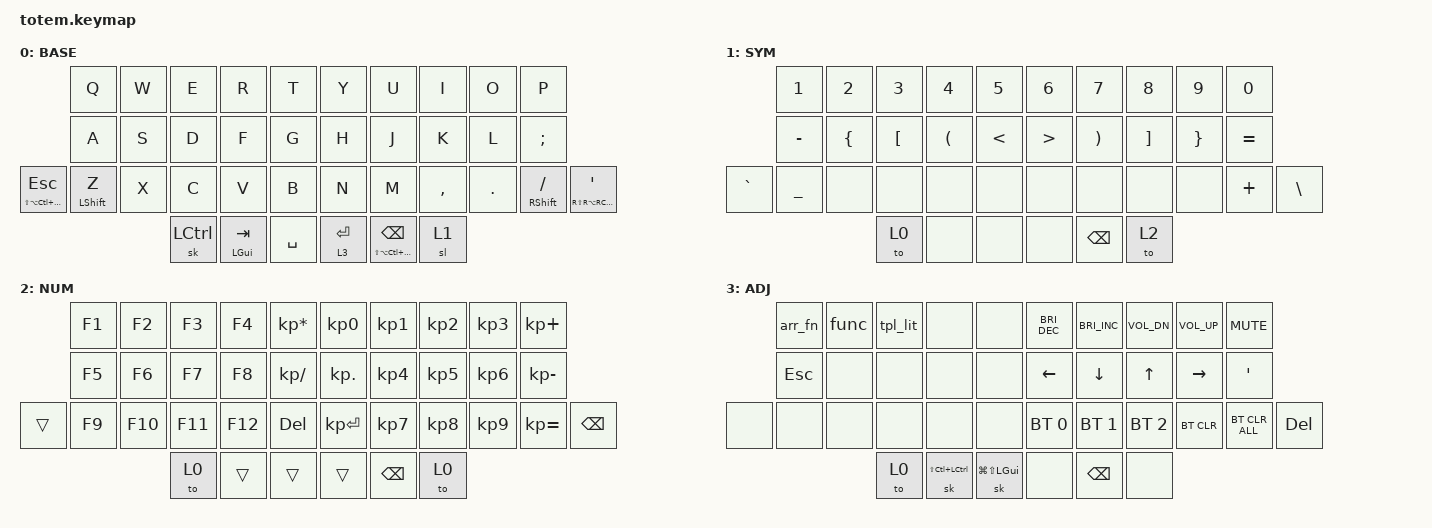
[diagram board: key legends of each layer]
//
//                                                        ▀▀▀▀▀     ▀▀▀▀▀          ▀▀█▀▀
//                                                        ▄▀▀▀▄  ▄  ▄▀▀▀▄  ▄  ▄▀▀▀▄  █  ▄▀▀▀▄
//                                                        █   █  █  █   █  █  █   █  █  █   █
//                                                         ▀▀▀   █   ▀▀▀   █   ▀▀▀   ▀   ▀▀▀
//                                                               █      ▄▄▄█▄▄▄    █   █  
//                                                               ▀      █  █  █     █▄█
//                                                             ▀▀▀▀▀    █  █  █      ▀
//                                                                      ▀  ▀  ▀
//
// ▄▄▄▄▄▄▄▄▄▄▄▄▄▄▄▄▄▄▄▄▄▄▄▄▄▄▄▄▄▄▄▄▄▄▄▄▄▄▄▄▄▄▄▄▄▄▄▄▄▄▄▄▄▄▄▄▄▄▄▄▄▄▄▄▄▄▄▄▄▄▄▄▄▄▄▄▄▄▄▄▄▄▄▄▄▄▄▄▄▄▄▄▄▄▄▄▄▄▄▄▄▄▄▄▄▄▄▄▄▄▄▄▄▄▄▄▄▄▄▄▄▄▄▄▄▄▄▄▄▄▄▄▄▄▄▄▄▄▄▄▄▄▄▄▄▄▄▄▄

#include <behaviors.dtsi>
#include <dt-bindings/zmk/bt.h>
#include <dt-bindings/zmk/keys.h>

#define BASE 0
#define NAV  1
#define SYM  2
#define ADJ  3
#define TVP1 4
#define TVP2 5

&mt {
    quick-tap-ms = <100>;
    global-quick-tap;
    flavor = "tap-preferred";
    tapping-term-ms = <170>;
};

/ {
    combos {
        compatible = "zmk,combos";

        DF {
            bindings = <&sk LEFT_GUI>;
            key-positions = <13 12>;
        };

        JK {
            bindings = <&sk RIGHT_GUI>;
            key-positions = <16 17>;
        };

        SD {
            bindings = <&sk LEFT_ALT>;
            key-positions = <12 11>;
        };

        KL {
            bindings = <&sk RIGHT_ALT>;
            key-positions = <17 18>;
        };

        SA {
            bindings = <&sk LEFT_CONTROL>;
            key-positions = <10 11>;
        };

        S_SEMI {
            bindings = <&sk RIGHT_CONTROL>;
            key-positions = <18 19>;
        };

        left_hyper {
            bindings = <&sk LA(LC(LG(LS(LEFT_GUI))))>;
            key-positions = <11 12 13>;
        };

        right_hyper {
            bindings = <&sk RS(RA(RC(RG(RIGHT_GUI))))>;
            key-positions = <16 17 18>;
        };

        cv {
            bindings = <&sk LEFT_SHIFT>;
            key-positions = <23 24>;
        };

        m, {
            bindings = <&sk RIGHT_SHIFT>;
            key-positions = <27 28>;
        };

        rt {
            bindings = <&kp LBRC>;
            key-positions = <3 4>;
        };

        yu {
            bindings = <&kp RBRC>;
            key-positions = <5 6>;
        };

        fg {
            bindings = <&kp LPAR>;
            key-positions = <13 14>;
        };

        hj {
            bindings = <&kp RPAR>;
            key-positions = <15 16>;
        };

        vb {
            bindings = <&kp LBKT>;
            key-positions = <24 25>;
        };

        nm {
            bindings = <&kp RBKT>;
            key-positions = <26 27>;
        };

        qw {
            bindings = <&kp GRAVE>;
            key-positions = <0 1>;
        };

        op {
            bindings = <&kp BSLH>;
            key-positions = <8 9>;
        };

        caps {
            bindings = <&kp CAPS>;
            key-positions = <10 19>;
        };
    };

    behaviors {
        hold_tap_k_k: hold_tap_k_k {
            compatible = "zmk,behavior-hold-tap";
            label = "HOLD_TAP_K_K";
            bindings = <&kp>, <&kp>;

            #binding-cells = <2>;
            tapping-term-ms = <150>;
        };
    };

    macros {
        arr_fn: arr_fn {
            compatible = "zmk,behavior-macro";
            #binding-cells = <0>;
            bindings = <&none &kp LPAR &kp RPAR &kp SPACE &kp EQUAL &kp GT &kp SPACE &kp LBRC &kp RBRC>;
            label = "ARR_FN";
        };

        func: func {
            compatible = "zmk,behavior-macro";
            #binding-cells = <0>;
            bindings = <&none &kp F &kp U &kp N &kp C &kp T &kp I &kp O &kp N &kp SPACE &kp LPAR &kp RPAR &kp SPACE &kp LBRC &kp RBRC>;
            label = "FUNC";
        };

        tpl_lit: tpl_lit {
            compatible = "zmk,behavior-macro";
            #binding-cells = <0>;
            bindings = <&none &kp DLLR &kp LBRC &kp RBRC>;
            label = "TPL_LIT";
        };
    };

    keymap {
        compatible = "zmk,keymap";

        // ▄▄▄▄▄▄▄▄▄▄▄▄▄▄▄▄▄▄▄▄▄▄▄▄▄▄▄▄▄▄▄▄▄▄▄▄▄▄▄▄▄▄▄▄▄▄▄▄▄▄▄▄▄▄▄▄▄▄▄▄▄▄▄▄▄▄▄▄▄▄▄▄▄▄▄▄▄▄▄▄▄▄▄▄▄▄▄▄▄▄▄▄▄▄▄▄▄▄▄▄▄▄▄▄▄▄▄▄▄▄▄▄▄▄▄▄▄▄▄▄▄▄▄▄▄▄▄▄▄▄▄▄▄▄▄▄▄▄▄▄▄▄▄▄▄▄▄▄▄

        base_layer {
            // ┏━━━━━━━━━━━━━━━━━━━━━━━━━━━━━━━━━━━━━━━┓

            label = "BASE";

            // ┗━━━━━━━━━━━━━━━━━━━━━━━━━━━━━━━━━━━━━━━┛
            //             ┏━━━━━━━━━━━┳━━━━━━━━━━━┳━━━━━━━━━━━┳━━━━━━━━━━━┳━━━━━━━━━━━┓   ┏━━━━━━━━━━━┳━━━━━━━━━━━┳━━━━━━━━━━━┳━━━━━━━━━━━┳━━━━━━━━━━━┓
            //             ┃     Q     ┃     W     ┃     F     ┃     P     ┃     G     ┃   ┃     J     ┃     L     ┃     U     ┃     Y     ┃     ;     ┃
            //             ┣━━━━━━━━━━━╋━━━━━━━━━━━╋━━━━━━━━━━━╋━━━━━━━━━━━╋━━━━━━━━━━━┫   ┣━━━━━━━━━━━╋━━━━━━━━━━━╋━━━━━━━━━━━╋━━━━━━━━━━━╋━━━━━━━━━━━┫
            //             ┃     A     ┃     R     ┃     S     ┃     T     ┃     D     ┃   ┃     H     ┃     N     ┃     E     ┃     I     ┃     O     ┃
            // ┏━━━━━━━━━━━╋━━━━━━━━━━━╋━━━━━━━━━━━╋━━━━━━━━━━━╋━━━━━━━━━━━╋━━━━━━━━━━━┫   ┣━━━━━━━━━━━╋━━━━━━━━━━━╋━━━━━━━━━━━╋━━━━━━━━━━━╋━━━━━━━━━━━╋━━━━━━━━━━━┓
            // ┃     Q     ┃     Z     ┃     X     ┃     C     ┃     V     ┃     B     ┃   ┃     K     ┃     M     ┃     ,     ┃     .     ┃     /     ┃     \     ┃
            // ┗━━━━━━━━━━━┻━━━━━━━━━━━┻━━━━━━━━━━━╋━━━━━━━━━━━╋━━━━━━━━━━━╋━━━━━━━━━━━┫   ┣━━━━━━━━━━━╋━━━━━━━━━━━╋━━━━━━━━━━━╋━━━━━━━━━━━┻━━━━━━━━━━━┻━━━━━━━━━━━┛
            //                                     ┃    DEL    ┃    TAB    ┃    SPC    ┃   ┃   ENTER   ┃           ┃   BSPC    ┃
            //                                     ┗━━━━━━━━━━━┻━━━━━━━━━━━┻━━━━━━━━━━━┛   ┗━━━━━━━━━━━┻━━━━━━━━━━━┻━━━━━━━━━━━┛

            bindings = <
                                        &kp Q             &kp W  &kp E             &kp R         &kp T        &kp Y      &kp U                                   &kp I      &kp O    &kp P
                                        &kp A             &kp S  &kp D             &kp F         &kp G        &kp H      &kp J                                   &kp K      &kp L    &kp SEMICOLON
&hold_tap_k_k LS(LA(LC(LG(LGUI)))) ESC  &mt LEFT_SHIFT Z  &kp X  &kp C             &kp V         &kp B        &kp N      &kp M                                   &kp COMMA  &kp DOT  &mt RIGHT_SHIFT SLASH  &hold_tap_k_k RS(RA(RC(RG(RGUI)))) SQT
                                                                 &sk LEFT_CONTROL  &mt LGUI TAB  &kp SPACE    &lt 3 RET  &mt LS(LA(LC(LG(LEFT_GUI)))) BACKSPACE  &sl 1
            >;
        };

        // ▄▄▄▄▄▄▄▄▄▄▄▄▄▄▄▄▄▄▄▄▄▄▄▄▄▄▄▄▄▄▄▄▄▄▄▄▄▄▄▄▄▄▄▄▄▄▄▄▄▄▄▄▄▄▄▄▄▄▄▄▄▄▄▄▄▄▄▄▄▄▄▄▄▄▄▄▄▄▄▄▄▄▄▄▄▄▄▄▄▄▄▄▄▄▄▄▄▄▄▄▄▄▄▄▄▄▄▄▄▄▄▄▄▄▄▄▄▄▄▄▄▄▄▄▄▄▄▄▄▄▄▄▄▄▄▄▄▄▄▄▄▄▄▄▄▄▄▄▄

        Symbols {
            // ┏━━━━━━━━━━━━━━━━━━━━━━━━━━━━━━━━━━━━━━━┓

            label = "SYM";

            // ┗━━━━━━━━━━━━━━━━━━━━━━━━━━━━━━━━━━━━━━━┛
            //             ┏━━━━━━━━━━━┳━━━━━━━━━━━┳━━━━━━━━━━━┳━━━━━━━━━━━┳━━━━━━━━━━━┓   ┏━━━━━━━━━━━┳━━━━━━━━━━━┳━━━━━━━━━━━┳━━━━━━━━━━━┳━━━━━━━━━━━┓
            //             ┃           ┃           ┃     UP    ┃           ┃     {     ┃   ┃     }     ┃     7     ┃     8     ┃     9     ┃     +     ┃
            //             ┣━━━━━━━━━━━╋━━━━━━━━━━━╋━━━━━━━━━━━╋━━━━━━━━━━━╋━━━━━━━━━━━┫   ┣━━━━━━━━━━━╋━━━━━━━━━━━╋━━━━━━━━━━━╋━━━━━━━━━━━╋━━━━━━━━━━━┫
            //             ┃   SHIFT   ┃   LEFT    ┃    DOWN   ┃   RIGHT   ┃     [     ┃   ┃     ]     ┃     4     ┃     5     ┃     6     ┃     -     ┃
            // ┏━━━━━━━━━━━╋━━━━━━━━━━━╋━━━━━━━━━━━╋━━━━━━━━━━━╋━━━━━━━━━━━╋━━━━━━━━━━━┫   ┣━━━━━━━━━━━╋━━━━━━━━━━━╋━━━━━━━━━━━╋━━━━━━━━━━━╋━━━━━━━━━━━╋━━━━━━━━━━━┓
            // ┃           ┃           ┃   P UP    ┃  C LOCK   ┃  P DOWN   ┃     (     ┃   ┃     )     ┃     1     ┃     2     ┃     3     ┃     *     ┃           ┃
            // ┗━━━━━━━━━━━┻━━━━━━━━━━━┻━━━━━━━━━━━╋━━━━━━━━━━━╋━━━━━━━━━━━╋━━━━━━━━━━━┫   ┣━━━━━━━━━━━╋━━━━━━━━━━━╋━━━━━━━━━━━╋━━━━━━━━━━━┻━━━━━━━━━━━┻━━━━━━━━━━━┛
            //                                     ┃           ┃    TAB    ┃    SPC    ┃   ┃    DEL    ┃     0     ┃           ┃
            //                                     ┗━━━━━━━━━━━┻━━━━━━━━━━━┻━━━━━━━━━━━┛   ┗━━━━━━━━━━━┻━━━━━━━━━━━┻━━━━━━━━━━━┛

            bindings = <
           &kp N1     &kp N2          &kp N3    &kp N4    &kp N5    &kp N6  &kp N7         &kp N8    &kp N9    &kp N0
           &kp MINUS  &kp LEFT_BRACE  &kp LBKT  &kp LPAR  &kp LT    &kp GT  &kp RPAR       &kp RBKT  &kp RBRC  &kp EQUAL
&kp GRAVE  &kp UNDER  &none           &none     &none     &none     &none   &none          &none     &none     &kp PLUS   &kp BSLH
                                      &to 0     &none     &none     &none   &kp BACKSPACE  &to 2
            >;
        };

        // ▄▄▄▄▄▄▄▄▄▄▄▄▄▄▄▄▄▄▄▄▄▄▄▄▄▄▄▄▄▄▄▄▄▄▄▄▄▄▄▄▄▄▄▄▄▄▄▄▄▄▄▄▄▄▄▄▄▄▄▄▄▄▄▄▄▄▄▄▄▄▄▄▄▄▄▄▄▄▄▄▄▄▄▄▄▄▄▄▄▄▄▄▄▄▄▄▄▄▄▄▄▄▄▄▄▄▄▄▄▄▄▄▄▄▄▄▄▄▄▄▄▄▄▄▄▄▄▄▄▄▄▄▄▄▄▄▄▄▄▄▄▄▄▄▄▄▄▄▄

        Numpad {
            // ┏━━━━━━━━━━━━━━━━━━━━━━━━━━━━━━━━━━━━━━━┓

            label = "NUM";

            // ┗━━━━━━━━━━━━━━━━━━━━━━━━━━━━━━━━━━━━━━━┛
            //             ┏━━━━━━━━━━━┳━━━━━━━━━━━┳━━━━━━━━━━━┳━━━━━━━━━━━┳━━━━━━━━━━━┓   ┏━━━━━━━━━━━┳━━━━━━━━━━━┳━━━━━━━━━━━┳━━━━━━━━━━━┳━━━━━━━━━━━┓
            //             ┃     !     ┃     @     ┃     #     ┃     $     ┃     %     ┃   ┃     ˆ     ┃     &     ┃     Ü     ┃     '     ┃     "     ┃
            //             ┣━━━━━━━━━━━╋━━━━━━━━━━━╋━━━━━━━━━━━╋━━━━━━━━━━━╋━━━━━━━━━━━┫   ┣━━━━━━━━━━━╋━━━━━━━━━━━╋━━━━━━━━━━━╋━━━━━━━━━━━╋━━━━━━━━━━━┫
            //             ┃     Ä     ┃           ┃    SZ     ┃           ┃           ┃   ┃   MUTE    ┃   YEN     ┃   EURO    ┃  POUND    ┃     Ö     ┃
            // ┏━━━━━━━━━━━╋━━━━━━━━━━━╋━━━━━━━━━━━╋━━━━━━━━━━━╋━━━━━━━━━━━╋━━━━━━━━━━━┫   ┣━━━━━━━━━━━╋━━━━━━━━━━━╋━━━━━━━━━━━╋━━━━━━━━━━━╋━━━━━━━━━━━╋━━━━━━━━━━━┓
            // ┃           ┃  EMAIL1   ┃  EMAIL2   ┃           ┃           ┃           ┃   ┃   VOL-    ┃   VOL+    ┃   LAST    ┃   NEXT    ┃     \     ┃           ┃
            // ┗━━━━━━━━━━━┻━━━━━━━━━━━┻━━━━━━━━━━━╋━━━━━━━━━━━╋━━━━━━━━━━━╋━━━━━━━━━━━┫   ┣━━━━━━━━━━━╋━━━━━━━━━━━╋━━━━━━━━━━━╋━━━━━━━━━━━┻━━━━━━━━━━━┻━━━━━━━━━━━┛
            //                                     ┃           ┃    GIF    ┃    ADJ    ┃   ┃           ┃           ┃           ┃
            //                                     ┗━━━━━━━━━━━┻━━━━━━━━━━━┻━━━━━━━━━━━┛   ┗━━━━━━━━━━━┻━━━━━━━━━━━┻━━━━━━━━━━━┛

            bindings = <
        &kp F1  &kp F2   &kp F3   &kp F4   &kp KP_MULTIPLY    &kp KP_N0     &kp KP_N1      &kp KP_N2  &kp KP_N3        &kp KP_PLUS
        &kp F5  &kp F6   &kp F7   &kp F8   &kp KP_DIVIDE      &kp KP_DOT    &kp KP_N4      &kp KP_N5  &kp KP_NUMBER_6  &kp KP_MINUS
&trans  &kp F9  &kp F10  &kp F11  &kp F12  &kp DEL            &kp KP_ENTER  &kp KP_N7      &kp KP_N8  &kp KP_N9        &kp KP_EQUAL  &kp BSPC
                         &to 0    &trans   &trans             &trans        &kp BACKSPACE  &to 0
            >;
        };

        // ▄▄▄▄▄▄▄▄▄▄▄▄▄▄▄▄▄▄▄▄▄▄▄▄▄▄▄▄▄▄▄▄▄▄▄▄▄▄▄▄▄▄▄▄▄▄▄▄▄▄▄▄▄▄▄▄▄▄▄▄▄▄▄▄▄▄▄▄▄▄▄▄▄▄▄▄▄▄▄▄▄▄▄▄▄▄▄▄▄▄▄▄▄▄▄▄▄▄▄▄▄▄▄▄▄▄▄▄▄▄▄▄▄▄▄▄▄▄▄▄▄▄▄▄▄▄▄▄▄▄▄▄▄▄▄▄▄▄▄▄▄▄▄▄▄▄▄▄▄

        adjust_layer {
            // ┏━━━━━━━━━━━━━━━━━━━━━━━━━━━━━━━━━━━━━━━┓

            label = "ADJ";

            // ┗━━━━━━━━━━━━━━━━━━━━━━━━━━━━━━━━━━━━━━━┛
            //             ┏━━━━━━━━━━━┳━━━━━━━━━━━┳━━━━━━━━━━━┳━━━━━━━━━━━┳━━━━━━━━━━━┓   ┏━━━━━━━━━━━┳━━━━━━━━━━━┳━━━━━━━━━━━┳━━━━━━━━━━━┳━━━━━━━━━━━┓
            //             ┃   RESET   ┃ BT CLEAR  ┃  OUT TOG  ┃           ┃           ┃   ┃           ┃    F7     ┃    F8     ┃    F9     ┃    F12    ┃
            //             ┣━━━━━━━━━━━╋━━━━━━━━━━━╋━━━━━━━━━━━╋━━━━━━━━━━━╋━━━━━━━━━━━┫   ┣━━━━━━━━━━━╋━━━━━━━━━━━╋━━━━━━━━━━━╋━━━━━━━━━━━╋━━━━━━━━━━━┫
            //             ┃ BOOTLOAD  ┃ BT NEXT   ┃           ┃           ┃           ┃   ┃           ┃    F4     ┃    F5     ┃    F6     ┃    F11    ┃
            // ┏━━━━━━━━━━━╋━━━━━━━━━━━╋━━━━━━━━━━━╋━━━━━━━━━━━╋━━━━━━━━━━━╋━━━━━━━━━━━┫   ┣━━━━━━━━━━━╋━━━━━━━━━━━╋━━━━━━━━━━━╋━━━━━━━━━━━╋━━━━━━━━━━━╋━━━━━━━━━━━┓
            // ┃           ┃           ┃ BT PREV   ┃           ┃           ┃           ┃   ┃           ┃    F1     ┃    F2     ┃    F3     ┃    F10    ┃           ┃
            // ┗━━━━━━━━━━━┻━━━━━━━━━━━┻━━━━━━━━━━━╋━━━━━━━━━━━╋━━━━━━━━━━━╋━━━━━━━━━━━┫   ┣━━━━━━━━━━━╋━━━━━━━━━━━╋━━━━━━━━━━━╋━━━━━━━━━━━┻━━━━━━━━━━━┻━━━━━━━━━━━┛
            //                                     ┃           ┃           ┃           ┃   ┃           ┃           ┃           ┃
            //                                     ┗━━━━━━━━━━━┻━━━━━━━━━━━┻━━━━━━━━━━━┛   ┗━━━━━━━━━━━┻━━━━━━━━━━━┻━━━━━━━━━━━┛

            bindings = <
       &arr_fn  &func  &tpl_lit  &none              &none               &kp C_BRI_DEC  &kp C_BRI_INC  &kp C_VOL_DN  &kp C_VOL_UP  &kp C_MUTE
       &kp ESC  &none  &none     &none              &none               &kp LEFT       &kp DOWN       &kp UP        &kp RIGHT     &kp SQT
&none  &none    &none  &none     &none              &none               &bt BT_SEL 0   &bt BT_SEL 1   &bt BT_SEL 2  &bt BT_CLR    &bt BT_CLR_ALL  &kp DEL
                       &to 0     &sk LS(LC(LCTRL))  &sk LG(LS(LGUI))    &none          &kp BACKSPACE  &none
            >;
        };

        // ▄▄▄▄▄▄▄▄▄▄▄▄▄▄▄▄▄▄▄▄▄▄▄▄▄▄▄▄▄▄▄▄▄▄▄▄▄▄▄▄▄▄▄▄▄▄▄▄▄▄▄▄▄▄▄▄▄▄▄▄▄▄▄▄▄▄▄▄▄▄▄▄▄▄▄▄▄▄▄▄▄▄▄▄▄▄▄▄▄▄▄▄▄▄▄▄▄▄▄▄▄▄▄▄▄▄▄▄▄▄▄▄▄▄▄▄▄▄▄▄▄▄▄▄▄▄▄▄▄▄▄▄▄▄▄▄▄▄▄▄▄▄▄▄▄▄▄▄▄
        // ▄▄▄▄▄▄▄▄▄▄▄▄▄▄▄▄▄▄▄▄▄▄▄▄▄▄▄▄▄▄▄▄▄▄▄▄▄▄▄▄▄▄▄▄▄▄▄▄▄▄▄▄▄▄▄▄▄▄▄▄▄▄▄▄▄▄▄▄▄▄▄▄▄▄▄▄▄▄▄▄▄▄▄▄▄▄▄▄▄▄▄▄▄▄▄▄▄▄▄▄▄▄▄▄▄▄▄▄▄▄▄▄▄▄▄▄▄▄▄▄▄▄▄▄▄▄▄▄▄▄▄▄▄▄▄▄▄▄▄▄▄▄▄▄▄▄▄▄▄
    };
};
